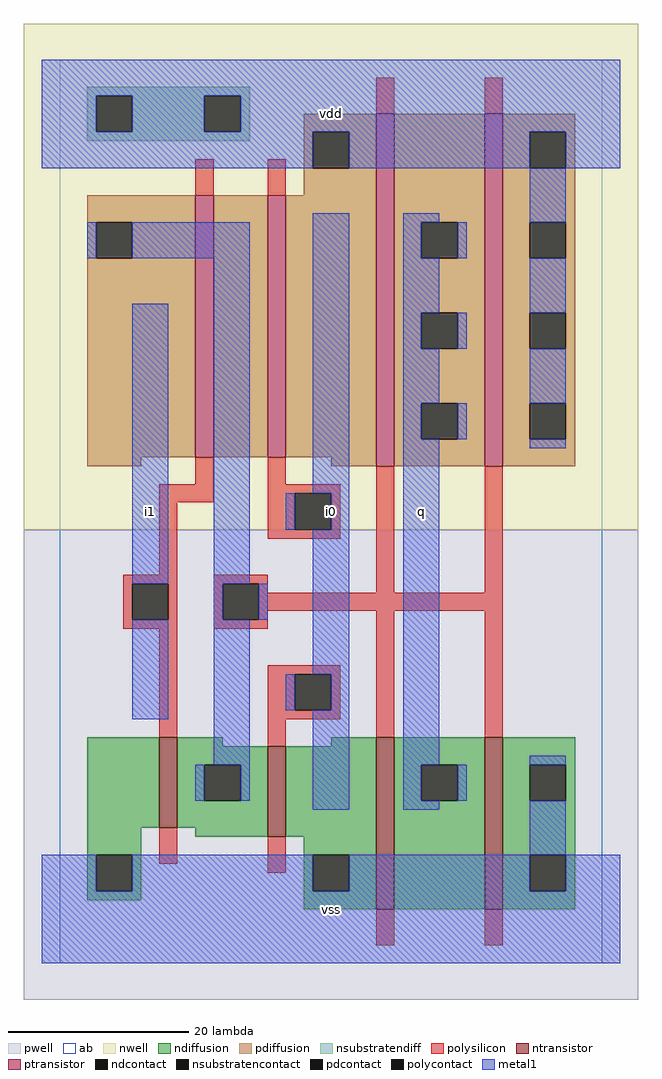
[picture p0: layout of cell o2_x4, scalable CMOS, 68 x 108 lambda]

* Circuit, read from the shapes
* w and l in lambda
.subckt o2_x4 i0 i1 q vdd vss
M1 n1 i1 vss VSUBS nfet w=10 l=2
M2 vss i0 n1 VSUBS nfet w=10 l=2
M3 q n1 vss VSUBS nfet w=19 l=2 m=2
M4 n2 i1 n1 vdd pfet w=29 l=2
M5 vdd i0 n2 vdd pfet w=29 l=2
M6 q n1 vdd vdd pfet w=39 l=2 m=2
.ends

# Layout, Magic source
magic
tech scmos
<< ab >>
rect 0 0 60 100
<< pwell >>
rect -4 -4 64 48
<< nwell >>
rect -4 48 64 104
<< polysilicon >>
rect 35 94 37 98
rect 47 94 49 98
rect 15 85 17 89
rect 23 85 25 89
rect 15 53 17 56
rect 11 51 17 53
rect 23 53 25 56
rect 23 52 31 53
rect 11 43 13 51
rect 23 48 26 52
rect 30 48 31 52
rect 23 47 31 48
rect 7 42 13 43
rect 7 38 8 42
rect 12 38 13 42
rect 7 37 13 38
rect 17 42 23 43
rect 17 38 18 42
rect 22 41 23 42
rect 35 41 37 55
rect 47 41 49 55
rect 22 39 49 41
rect 22 38 23 39
rect 17 37 23 38
rect 11 25 13 37
rect 23 32 31 33
rect 23 28 26 32
rect 30 28 31 32
rect 23 27 31 28
rect 23 24 25 27
rect 35 25 37 39
rect 47 25 49 39
rect 11 11 13 15
rect 23 10 25 14
rect 35 2 37 6
rect 47 2 49 6
<< ndiffusion >>
rect 3 15 11 25
rect 13 24 18 25
rect 30 24 35 25
rect 13 22 23 24
rect 13 18 16 22
rect 20 18 23 22
rect 13 15 23 18
rect 3 12 9 15
rect 3 8 4 12
rect 8 8 9 12
rect 15 14 23 15
rect 25 14 35 24
rect 27 12 35 14
rect 3 7 9 8
rect 27 8 28 12
rect 32 8 35 12
rect 27 6 35 8
rect 37 22 47 25
rect 37 18 40 22
rect 44 18 47 22
rect 37 6 47 18
rect 49 22 57 25
rect 49 18 52 22
rect 56 18 57 22
rect 49 12 57 18
rect 49 8 52 12
rect 56 8 57 12
rect 49 6 57 8
<< pdiffusion >>
rect 27 92 35 94
rect 27 88 28 92
rect 32 88 35 92
rect 27 85 35 88
rect 3 82 15 85
rect 3 78 4 82
rect 8 78 15 82
rect 3 56 15 78
rect 17 56 23 85
rect 25 56 35 85
rect 3 55 9 56
rect 30 55 35 56
rect 37 82 47 94
rect 37 78 40 82
rect 44 78 47 82
rect 37 72 47 78
rect 37 68 40 72
rect 44 68 47 72
rect 37 62 47 68
rect 37 58 40 62
rect 44 58 47 62
rect 37 55 47 58
rect 49 92 57 94
rect 49 88 52 92
rect 56 88 57 92
rect 49 82 57 88
rect 49 78 52 82
rect 56 78 57 82
rect 49 72 57 78
rect 49 68 52 72
rect 56 68 57 72
rect 49 62 57 68
rect 49 58 52 62
rect 56 58 57 62
rect 49 55 57 58
<< metal1 >>
rect -2 96 62 100
rect -2 92 4 96
rect 8 92 16 96
rect 20 92 62 96
rect -2 88 28 92
rect 32 88 52 92
rect 56 88 62 92
rect 3 78 4 82
rect 8 78 21 82
rect 8 42 12 73
rect 8 27 12 38
rect 17 42 21 78
rect 28 52 32 83
rect 25 48 26 52
rect 30 48 32 52
rect 17 38 18 42
rect 22 38 23 42
rect 17 22 21 38
rect 28 32 32 48
rect 25 28 26 32
rect 30 28 32 32
rect 15 18 16 22
rect 20 18 21 22
rect 28 17 32 28
rect 38 82 42 83
rect 52 82 56 88
rect 38 78 40 82
rect 44 78 45 82
rect 38 72 42 78
rect 52 72 56 78
rect 38 68 40 72
rect 44 68 45 72
rect 38 62 42 68
rect 52 62 56 68
rect 38 58 40 62
rect 44 58 45 62
rect 38 22 42 58
rect 52 57 56 58
rect 52 22 56 23
rect 38 18 40 22
rect 44 18 45 22
rect 38 17 42 18
rect 52 12 56 18
rect -2 8 4 12
rect 8 8 28 12
rect 32 8 52 12
rect 56 8 62 12
rect -2 0 62 8
<< ntransistor >>
rect 11 15 13 25
rect 23 14 25 24
rect 35 6 37 25
rect 47 6 49 25
<< ptransistor >>
rect 15 56 17 85
rect 23 56 25 85
rect 35 55 37 94
rect 47 55 49 94
<< polycontact >>
rect 26 48 30 52
rect 8 38 12 42
rect 18 38 22 42
rect 26 28 30 32
<< ndcontact >>
rect 16 18 20 22
rect 4 8 8 12
rect 28 8 32 12
rect 40 18 44 22
rect 52 18 56 22
rect 52 8 56 12
<< pdcontact >>
rect 28 88 32 92
rect 4 78 8 82
rect 40 78 44 82
rect 40 68 44 72
rect 40 58 44 62
rect 52 88 56 92
rect 52 78 56 82
rect 52 68 56 72
rect 52 58 56 62
<< nsubstratencontact >>
rect 4 92 8 96
rect 16 92 20 96
<< nsubstratendiff >>
rect 3 96 21 97
rect 3 92 4 96
rect 8 92 16 96
rect 20 92 21 96
rect 3 91 21 92
<< labels >>
rlabel metal1 10 50 10 50 6 i1
rlabel metal1 30 6 30 6 6 vss
rlabel metal1 40 50 40 50 6 q
rlabel metal1 30 50 30 50 6 i0
rlabel metal1 30 94 30 94 6 vdd
<< end >>
